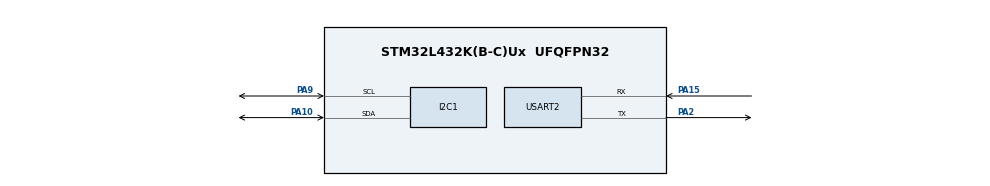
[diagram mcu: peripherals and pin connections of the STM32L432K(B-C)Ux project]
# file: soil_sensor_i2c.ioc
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Mcu.Family=STM32L4
Mcu.Name=STM32L432K(B-C)Ux
Mcu.Package=UFQFPN32
NVIC.PriorityGroup=NVIC_PRIORITYGROUP_4
PA10.Mode=I2C
PA10.Signal=I2C1_SDA
PA15\ (JTDI).Mode=Asynchronous
PA15\ (JTDI).Signal=USART2_RX
PA2.Mode=Asynchronous
PA2.Signal=USART2_TX
PA9.Mode=I2C
PA9.Signal=I2C1_SCL
ProjectManager.HeapSize=0x200
ProjectManager.StackSize=0x400
ProjectManager.TargetToolchain=STM32CubeIDE
RCC.HSE_VALUE=8000000
RCC.HSI48_VALUE=48000000
RCC.HSI_VALUE=16000000
RCC.LSE_VALUE=32768
RCC.MSI_VALUE=4000000
RCC.VCOOutputFreq_Value=32000000
USART2.VirtualMode-Asynchronous=VM_ASYNC
board=custom

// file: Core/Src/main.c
/* USER CODE BEGIN Header */
/**
  ******************************************************************************
  * @file           : main.c
  * @brief          : Main program body
  ******************************************************************************
  * @attention
  *
  * <h2><center>&copy; Copyright (c) 2020 STMicroelectronics.
  * All rights reserved.</center></h2>
  *
  * This software component is licensed by ST under BSD 3-Clause license,
  * the "License"; You may not use this file except in compliance with the
  * License. You may obtain a copy of the License at:
  *                        opensource.org/licenses/BSD-3-Clause
  *
  ******************************************************************************
  */
/* USER CODE END Header */

#include "main.h"

/* USER CODE BEGIN Includes */
#include "stdio.h"
/* USER CODE END Includes */

/* USER CODE BEGIN PD */
static const uint8_t ADDR 				= 0x63<<1;
static const uint8_t REG_READ_START 	= 0x01;
static const uint8_t REG_READ_EC 		= 0x03;
static const uint8_t REG_READ_TEMP 		= 0x04;
static const uint8_t REG_READ_VWC 		= 0x05;
/* USER CODE END PD */

I2C_HandleTypeDef hi2c1;

UART_HandleTypeDef huart2;

/* USER CODE BEGIN PV */

uint8_t buff[16];
uint8_t rec_buff[2];
uint16_t value = 0;
float soil_vwc = 0.00; //soil volumetric water content
float soil_temp = 0.00; //soil temperature
float soil_ec = 0.00; //soil electrical conductivity

/* USER CODE END PV */

void SystemClock_Config(void);
static void MX_GPIO_Init(void);
static void MX_USART2_UART_Init(void);
static void MX_I2C1_Init(void);

int main(void)
{

  /* MCU Configuration--------------------------------------------------------*/

  /* Reset of all peripherals, Initializes the Flash interface and the Systick. */
  HAL_Init();

  /* Configure the system clock */
  SystemClock_Config();

  /* Initialize all configured peripherals */
  MX_GPIO_Init();
  MX_USART2_UART_Init();
  MX_I2C1_Init();
  /* USER CODE BEGIN 2 */

  if(HAL_I2C_IsDeviceReady(&hi2c1, ADDR, 1, HAL_MAX_DELAY) != HAL_OK ) // jika sensor tidak OK
  {
	  printf("SOIL SENSOR ERROR\r\n");
	  while(1); // menghentikan proses (agar loop di sini aja)
  }
  else
  {
	  printf("SOIL SENSOR READY\r\n"); //jika sensor ok maka print ready
  }
  /* USER CODE END 2 */

  /* Infinite loop */
  /* USER CODE BEGIN WHILE */
  while (1)
  {
	buff[0] = REG_READ_START;
	if(HAL_I2C_Master_Transmit(&hi2c1, ADDR, buff, 1, 50)!=HAL_OK) //transmit 0x01 ke sensor
	{
		printf("Read Sensor ERROR!\r\n"); // jika HAL tidak OK maka print ERROR
	}
	else
	{
		printf("Read Sensor START!\r\n"); // jika OK maka print start
	}

	buff[0] = REG_READ_VWC;
	if(HAL_I2C_Master_Transmit(&hi2c1, ADDR, buff, 1, 50) != HAL_OK)
	{
		printf("Soil VWC ERROR!\r\n");
	}
	else
	{
		HAL_I2C_Master_Receive(&hi2c1, ADDR, rec_buff, 2, 50);
		value = (rec_buff[1] << 8) | rec_buff[0];
		soil_vwc = ((float)value) / 10.0;
		printf("Soil VWC = %.2f\r\n", soil_vwc);
	}

	buff[0] = REG_READ_TEMP;
	if(HAL_I2C_Master_Transmit(&hi2c1, ADDR, buff, 1, 50) != HAL_OK)
	{
		printf("Soil TEMP ERROR!\r\n");
	}
	else
	{
		HAL_I2C_Master_Receive(&hi2c1, ADDR, rec_buff, 2, 50);
		value = (rec_buff[1] << 8) | rec_buff[0];
		soil_temp = ((float)value) / 100.0;
		printf("Soil TEMP = %.2f\r\n", soil_temp);
	}

	buff[0] = REG_READ_EC;
	if(HAL_I2C_Master_Transmit(&hi2c1, ADDR, buff, 1, 50) != HAL_OK) //transmit 1 byte ke soil sensor
	{
		printf("Soil EC ERROR!\r\n");
	}
	else
	{
		HAL_I2C_Master_Receive(&hi2c1, ADDR, rec_buff, 2, 50); // receive 2 bytes lalu di tampung ke variabel "rec_buff"
		value = (rec_buff[1] << 8) | rec_buff[0];  		//kombinasikan uint8_t 2 bytes ke uint16_t 1 byte
		soil_ec = ((float)value) / 10.0;
	}

	HAL_Delay(1000);
    /* USER CODE END WHILE */

  }
}

void SystemClock_Config(void)
{
  RCC_OscInitTypeDef RCC_OscInitStruct = {0};
  RCC_ClkInitTypeDef RCC_ClkInitStruct = {0};
  RCC_PeriphCLKInitTypeDef PeriphClkInit = {0};

  /** Initializes the CPU, AHB and APB busses clocks
  */
  RCC_OscInitStruct.OscillatorType = RCC_OSCILLATORTYPE_MSI;
  RCC_OscInitStruct.MSIState = RCC_MSI_ON;
  RCC_OscInitStruct.MSICalibrationValue = 0;
  RCC_OscInitStruct.MSIClockRange = RCC_MSIRANGE_6;
  RCC_OscInitStruct.PLL.PLLState = RCC_PLL_NONE;
  if (HAL_RCC_OscConfig(&RCC_OscInitStruct) != HAL_OK)
  {
    Error_Handler();
  }
  /** Initializes the CPU, AHB and APB busses clocks
  */
  RCC_ClkInitStruct.ClockType = RCC_CLOCKTYPE_HCLK|RCC_CLOCKTYPE_SYSCLK
                              |RCC_CLOCKTYPE_PCLK1|RCC_CLOCKTYPE_PCLK2;
  RCC_ClkInitStruct.SYSCLKSource = RCC_SYSCLKSOURCE_MSI;
  RCC_ClkInitStruct.AHBCLKDivider = RCC_SYSCLK_DIV1;
  RCC_ClkInitStruct.APB1CLKDivider = RCC_HCLK_DIV1;
  RCC_ClkInitStruct.APB2CLKDivider = RCC_HCLK_DIV1;

  if (HAL_RCC_ClockConfig(&RCC_ClkInitStruct, FLASH_LATENCY_0) != HAL_OK)
  {
    Error_Handler();
  }
  PeriphClkInit.PeriphClockSelection = RCC_PERIPHCLK_USART2|RCC_PERIPHCLK_I2C1;
  PeriphClkInit.Usart2ClockSelection = RCC_USART2CLKSOURCE_PCLK1;
  PeriphClkInit.I2c1ClockSelection = RCC_I2C1CLKSOURCE_PCLK1;
  if (HAL_RCCEx_PeriphCLKConfig(&PeriphClkInit) != HAL_OK)
  {
    Error_Handler();
  }
  /** Configure the main internal regulator output voltage
  */
  if (HAL_PWREx_ControlVoltageScaling(PWR_REGULATOR_VOLTAGE_SCALE1) != HAL_OK)
  {
    Error_Handler();
  }
}

static void MX_I2C1_Init(void)
{

  hi2c1.Instance = I2C1;
  hi2c1.Init.Timing = 0x00000E14;
  hi2c1.Init.OwnAddress1 = 0;
  hi2c1.Init.AddressingMode = I2C_ADDRESSINGMODE_7BIT;
  hi2c1.Init.DualAddressMode = I2C_DUALADDRESS_DISABLE;
  hi2c1.Init.OwnAddress2 = 0;
  hi2c1.Init.OwnAddress2Masks = I2C_OA2_NOMASK;
  hi2c1.Init.GeneralCallMode = I2C_GENERALCALL_DISABLE;
  hi2c1.Init.NoStretchMode = I2C_NOSTRETCH_DISABLE;
  if (HAL_I2C_Init(&hi2c1) != HAL_OK)
  {
    Error_Handler();
  }
  /** Configure Analogue filter
  */
  if (HAL_I2CEx_ConfigAnalogFilter(&hi2c1, I2C_ANALOGFILTER_ENABLE) != HAL_OK)
  {
    Error_Handler();
  }
  /** Configure Digital filter
  */
  if (HAL_I2CEx_ConfigDigitalFilter(&hi2c1, 0) != HAL_OK)
  {
    Error_Handler();
  }

}

static void MX_USART2_UART_Init(void)
{

  huart2.Instance = USART2;
  huart2.Init.BaudRate = 115200;
  huart2.Init.WordLength = UART_WORDLENGTH_8B;
  huart2.Init.StopBits = UART_STOPBITS_1;
  huart2.Init.Parity = UART_PARITY_NONE;
  huart2.Init.Mode = UART_MODE_TX_RX;
  huart2.Init.HwFlowCtl = UART_HWCONTROL_NONE;
  huart2.Init.OverSampling = UART_OVERSAMPLING_16;
  huart2.Init.OneBitSampling = UART_ONE_BIT_SAMPLE_DISABLE;
  huart2.AdvancedInit.AdvFeatureInit = UART_ADVFEATURE_NO_INIT;
  if (HAL_UART_Init(&huart2) != HAL_OK)
  {
    Error_Handler();
  }

}

static void MX_GPIO_Init(void)
{

  /* GPIO Ports Clock Enable */
  __HAL_RCC_GPIOA_CLK_ENABLE();

}

/* USER CODE BEGIN 4 */
int __io_putchar(int ch)
{
	HAL_UART_Transmit(&huart2, (uint8_t *)&ch, 1, 0xFFFF);
	return ch;
}
/* USER CODE END 4 */

void Error_Handler(void)
{
}

/************************ (C) COPYRIGHT STMicroelectronics *****END OF FILE****/
